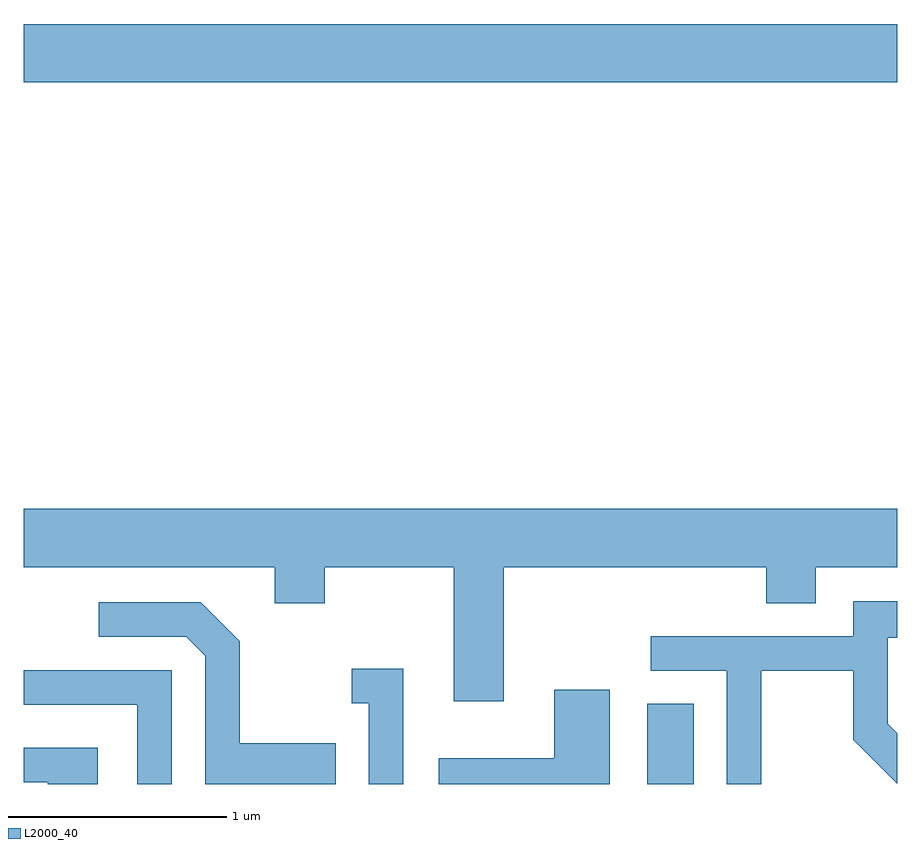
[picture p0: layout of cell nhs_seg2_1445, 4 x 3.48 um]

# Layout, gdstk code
import gdstk
lib = gdstk.Library(unit=1e-6, precision=1e-09)
def R(c, l, rs):  # rectangles x0, y0, x1, y1
    for r in rs: c.add(gdstk.rectangle(r[:2], r[2:], *l))
def P(c, l, *ps):  # polygons
    for p in ps: c.add(gdstk.Polygon(p, *l))
L2000_40 = (2000, 40)

nhs_seg2_1445 = lib.new_cell('nhs_seg2_1445')
R(nhs_seg2_1445, L2000_40, [(230.466,1011.802,230.679,1012.169), (227.611,1015.016,231.611,1015.284)])
P(nhs_seg2_1445, L2000_40, [(229.809,1012.796),(231.011,1012.796),(231.011,1012.631),(231.239,1012.631),(231.239,1012.796),(231.611,1012.796),(231.611,1013.064),(227.611,1013.064),(227.611,1012.796),(228.761,1012.796),(228.761,1012.631),(228.989,1012.631),(228.989,1012.796),(229.581,1012.796),(229.581,1012.181),(229.809,1012.181)],
  [(230.989,1012.321),(231.411,1012.321),(231.411,1012.004),(231.611,1011.804),(231.611,1012.035),(231.569,1012.077),(231.569,1012.471),(231.611,1012.471),(231.611,1012.639),(231.411,1012.639),(231.411,1012.479),(230.483,1012.479),(230.483,1012.321),(230.831,1012.321),(230.831,1011.802),(230.989,1011.802)],
  [(229.039,1011.989),(228.599,1011.989),(228.599,1012.457),(228.422,1012.634),(227.953,1012.634),(227.953,1012.476),(228.354,1012.476),(228.441,1012.389),(228.441,1011.802),(229.039,1011.802)],
  [(229.349,1012.329),(229.113,1012.329),(229.113,1012.171),(229.191,1012.171),(229.191,1011.802),(229.349,1011.802)],
  [(228.289,1012.324),(227.611,1012.324),(227.611,1012.166),(228.131,1012.166),(228.131,1011.802),(228.289,1011.802)],
  [(230.294,1012.234),(230.041,1012.234),(230.041,1011.919),(229.511,1011.919),(229.511,1011.802),(230.294,1011.802)],
  [(227.949,1011.969),(227.611,1011.969),(227.611,1011.811),(227.721,1011.811),(227.721,1011.802),(227.949,1011.802)])

lib.write_gds('nhs_seg2_1445.gds')
